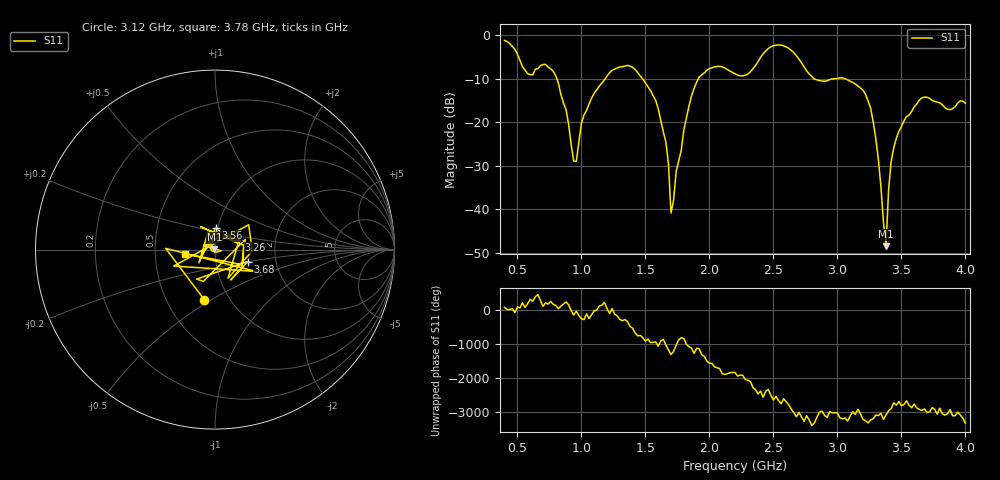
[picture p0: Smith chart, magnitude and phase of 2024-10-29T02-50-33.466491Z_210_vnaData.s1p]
!Created with skrf (http://scikit-rf.org).
# Hz S RI R 50.0
!freq ReS11 ImS11
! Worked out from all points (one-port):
!   181 points, 400 MHz to 4 GHz, reference 50 ohm
!   lowest |S11| = -48.5 dB at 3.38 GHz (marker M1), VSWR 1.01, Z = 49.6 + j0.0914 ohm
!   |S11| at or under -10 dB: 807.9 MHz to 1.186 GHz (378.5 MHz wide, 38 % of centre); 1.477 GHz to 1.914 GHz (436.2 MHz wide, 25.7 % of centre); 3.059 GHz to end of sweep (the widest 3 of 4)
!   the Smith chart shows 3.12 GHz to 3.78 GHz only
!   S11 on the Smith chart (normalised r, x): 3.12 GHz: 0.77, -0.47; 3.26 GHz: 1.30, +0.14; 3.56 GHz: 0.98, +0.24; 3.68 GHz: 1.43, -0.20; 3.78 GHz: 0.71, -0.03
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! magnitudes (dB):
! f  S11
! 400 MHz  -1.2
! 580 MHz  -8.8
! 780 MHz  -8.3
! 860 MHz  -15.6
! 960 MHz  -29.0
! 1 GHz  -20.3
! 1.08 GHz  -14.4
! 1.3 GHz  -7.3
! 1.58 GHz  -14.9
! 1.66 GHz  -24.6
! 1.7 GHz  -40.9
! 1.76 GHz  -29.0
! 1.92 GHz  -9.6
! 2.2 GHz  -8.9
! 2.5 GHz  -2.4
! 2.66 GHz  -4.0
! 2.82 GHz  -10.1
! 3.1 GHz  -10.6
! 3.12 GHz  -10.9
! 3.26 GHz  -16.8
! 3.32 GHz  -28.5
! 3.38 GHz  -48.5
! 3.4 GHz  -35.5
! 3.42 GHz  -29.0
! 3.56 GHz  -18.4
! 3.68 GHz  -14.2
! 3.78 GHz  -15.4
! 4 GHz  -15.6
